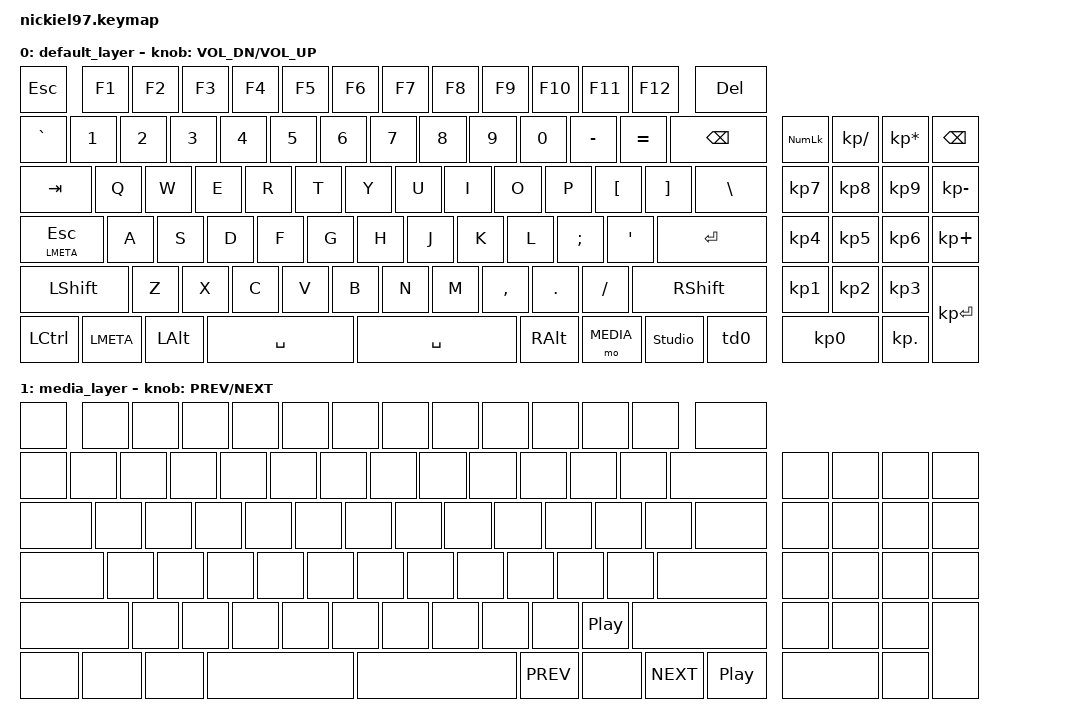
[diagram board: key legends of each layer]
#include <dt-bindings/zmk/backlight.h>
#include <behaviors.dtsi>
#include <dt-bindings/zmk/keys.h>
#include <dt-bindings/zmk/backlight.h>

// Layers
#define DEFAULT 0
#define MEDIA 1


/{
  	combos {
		compatible = "zmk,combos";

		combo_caps {
			timeout-ms = <150>;
			key-positions = <90 50>;
			bindings = <&kp CAPS>;
		};
	};
	
	behaviours {
		td0: tap_dance_0 {
		    compatible = "zmk,behavior-tap-dance";
		    label = "TAP_DANCE_ENCODER";
		    #binding-cells = <0>;
		    tapping-term-ms = <350>;
		    bindings = <&mo MEDIA>, <&kp C_PLAY_PAUSE>, <&kp C_MUTE>;
		    //bindings = <&mo MEDIA>, <&kp C_PLAY_PAUSE>, <&kp C_MUTE>;
		};


	};

	keymap {
		compatible = "zmk,keymap";

// --------------------------------------------------------------------------------------------------------------------------------------------------------------------
// | ESC  |  |  F1  |  F2  |  F3  |  F4  |  F5  | F6 |  F7  |  F8  |  F9  |  F10  |  F11 | F12  | |   Del  |
// | ~/`  | Num1 | Num2 | Num3 | Num4 | Num5 | Num6 | Num7 | Num8 | Num9 | Num0 | Dash | Plus | backspace  |  | NmLck|  /   |  *   |Bkspce|
// | Tab     |  Q   |  W   |  E   |  R   |  T   |  Y   |  U   |  I   |  O   |  P   |  [   |  ]   |     \   |  |  7   |  8   |  9   |  +   | 
// | CapsLock  |  A   |  S   |  D   |  F   |  G   |  H   |  J   |  K   |  L   |  :   |  "   |    Enter     |  |  4   |  5   |  6   |  -   |
// |    Shift     |  Z   |  X   |  C   |  V   |  B   |  N   |  M   |  <   |  >   |  ?   |        Shift     |  |  1   |  2   |  3   |  En  |
// |  Ctrl | Super |  Alt   |      Space       |       Space       |  Alt  |   Fn   | lights | Rot_Encoder |  |      0      |  .   |  ter |

// --------------------------------------------------------------------------------------------------------------------------------------------------------------------
// THIS IS ZERO INDEXED, IF THIS IS STILL HERE, SUBTRACT EACH NUMBER BY 1
// | 1  |  |  2  |  3   |  4  |  5  |  6  |  7  |  8  |  9  |  10  |  11  |  12 | 13  | |   14  |
// | 15  | 16 | 17 | 18 | 19 | 20 | 21 | 22 | 23 | 24 | 25 | 26 | 27 | 28  |  | 29|  30   |  31   |   32   |
// | 33     |  34   |  35   |  36   |  37   |  38   |  39   |  40   |  41   |  42   |  43   |  44   |  45  | 46 |  |  47   |  48   |  49   |  50   | 
// | 51  |  52   |  53   |  54   |  55   |  56   |  57   |  58   |  59   |  60   |  61   |  62   |    63     |     |  64   |  65   |  66   |  67   |
// |    68     |  69   |  70   |  71   |  72   |  73   |  74   |  75   |  76   |  77   |  78   |        79    |    |  80   |  81   |  82   |  83  |
// |  84 | 85 |  86   |      87       |       88       |  89  |   90   | 91 | 92 |                                 |      93      |  94   |  95 |

		default_layer {
			sensor-bindings = <&inc_dec_kp C_VOL_DN C_VOL_UP>;
			bindings = <
	&kp ESC    &kp F1    &kp F2    &kp F3    &kp F4    &kp F5    &kp F6    &kp F7    &kp F8    &kp F9    &kp F10   &kp F11   &kp F12   &kp DEL
	&kp GRAVE  &kp N1    &kp N2    &kp N3    &kp N4    &kp N5    &kp N6    &kp N7    &kp N8    &kp N9    &kp N0    &kp MINUS &kp EQUAL &kp BSPC    &kp KP_NUM  &kp KP_SLASH   &kp KP_MULTIPLY  &kp BSPC
	&kp TAB    &kp Q     &kp W     &kp E     &kp R     &kp T     &kp Y     &kp U     &kp I     &kp O     &kp P     &kp LBKT  &kp RBKT  &kp BSLH    &kp KP_N7   &kp KP_N8      &kp KP_N9        &kp KP_MINUS
	&mt LMETA ESC   &kp A     &kp S     &kp D     &kp F     &kp G     &kp H     &kp J     &kp K     &kp L     &kp SEMI  &kp SQT        &kp ENTER   &kp KP_N4   &kp KP_N5      &kp KP_N6        &kp KP_PLUS
	&kp LSHIFT &kp Z     &kp X     &kp C     &kp V     &kp B     &kp N     &kp M     &kp COMMA &kp PERIOD          &kp SLASH       &kp RSHIFT      &kp KP_N1   &kp KP_N2      &kp KP_N3        &kp KP_ENTER
	&kp LCTRL  &kp LMETA &kp LALT       &kp SPACE          &kp SPACE              &kp RALT  &mo MEDIA   &studio_unlock                  &td0                     &kp KP_N0              &kp KP_DOT                   
			>;
		};
		
		media_layer {
			sensor-bindings = <&inc_dec_kp C_PREV C_NEXT>;
			bindings = <
	&none    &none    &none    &none    &none    &none    &none    &none    &none    &none    &none   &none   &none   &none
	&none    &none    &none    &none    &none    &none    &none    &none    &none    &none    &none   &none   &none   &none        &none  &none   &none  &none
	&none    &none    &none    &none    &none    &none    &none    &none    &none    &none    &none   &none   &none   &none        &none  &none   &none  &none
	&none    &none    &none    &none    &none    &none    &none    &none    &none    &none    &none   &none   &none                &none  &none   &none  &none
	&none    &none    &none    &none    &none    &none    &none    &none    &none    &none    &kp C_PLAY_PAUSE   &none             &none  &none   &none  &none
	&none    &none    &none    &none             &none             &kp C_PREV    &none    &kp C_NEXT    &kp C_PLAY_PAUSE                 &none          &none                   
			>;
		};	


	};

};
